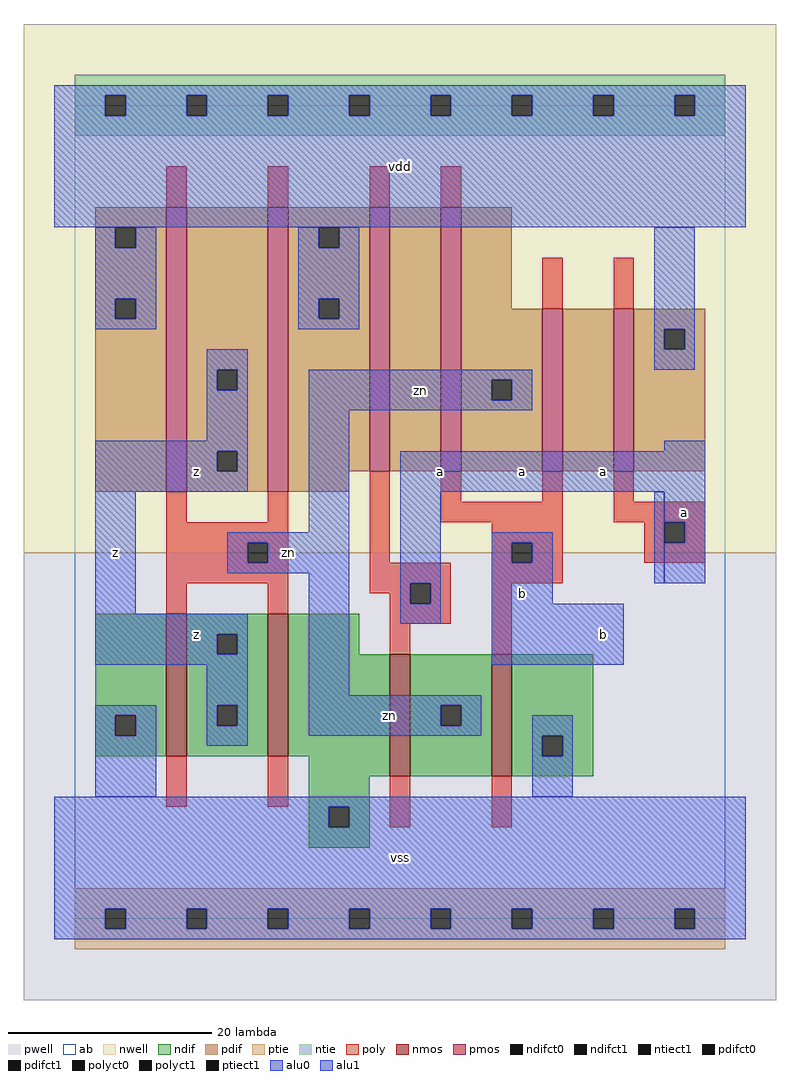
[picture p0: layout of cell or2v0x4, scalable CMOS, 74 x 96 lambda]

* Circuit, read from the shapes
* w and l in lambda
.subckt or2v0x4 a b vdd vss z zn
M1 z zn vss vss nfet w=14 l=2 m=2
M2 zn a vss vss nfet w=12 l=2
M3 vss b zn vss nfet w=12 l=2
M4 z zn vdd vdd pfet w=28 l=2 m=2
M5 n1 a vdd vdd pfet w=26 l=2
M6 zn b n1 vdd pfet w=26 l=2
M7 n2 b zn vdd pfet w=16 l=2
M8 vdd a n2 vdd pfet w=16 l=2
.ends

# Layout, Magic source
magic
tech scmos
<< ab >>
rect 0 0 64 80
<< nwell >>
rect -5 36 69 88
<< pwell >>
rect -5 -8 69 36
<< poly >>
rect 9 70 11 74
rect 19 70 21 74
rect 29 70 31 74
rect 36 70 38 74
rect 46 60 48 65
rect 53 60 55 65
rect 9 39 11 42
rect 19 39 21 42
rect 9 37 21 39
rect 9 35 17 37
rect 19 35 21 37
rect 9 33 21 35
rect 9 30 11 33
rect 19 30 21 33
rect 29 35 31 44
rect 36 41 38 44
rect 46 41 48 44
rect 36 39 48 41
rect 53 41 55 44
rect 53 39 62 41
rect 41 37 48 39
rect 41 35 43 37
rect 45 35 48 37
rect 56 37 58 39
rect 60 37 62 39
rect 56 35 62 37
rect 29 33 37 35
rect 29 32 33 33
rect 31 31 33 32
rect 35 31 37 33
rect 31 29 37 31
rect 41 33 48 35
rect 31 26 33 29
rect 41 26 43 33
rect 9 11 11 16
rect 19 11 21 16
rect 31 9 33 14
rect 41 9 43 14
<< ndif >>
rect 2 20 9 30
rect 2 18 4 20
rect 6 18 9 20
rect 2 16 9 18
rect 11 28 19 30
rect 11 26 14 28
rect 16 26 19 28
rect 11 21 19 26
rect 11 19 14 21
rect 16 19 19 21
rect 11 16 19 19
rect 21 26 28 30
rect 21 16 31 26
rect 23 14 31 16
rect 33 21 41 26
rect 33 19 36 21
rect 38 19 41 21
rect 33 14 41 19
rect 43 18 51 26
rect 43 16 46 18
rect 48 16 51 18
rect 43 14 51 16
rect 23 11 29 14
rect 23 9 25 11
rect 27 9 29 11
rect 23 7 29 9
<< pdif >>
rect 2 68 9 70
rect 2 66 4 68
rect 6 66 9 68
rect 2 61 9 66
rect 2 59 4 61
rect 6 59 9 61
rect 2 42 9 59
rect 11 54 19 70
rect 11 52 14 54
rect 16 52 19 54
rect 11 46 19 52
rect 11 44 14 46
rect 16 44 19 46
rect 11 42 19 44
rect 21 68 29 70
rect 21 66 24 68
rect 26 66 29 68
rect 21 61 29 66
rect 21 59 24 61
rect 26 59 29 61
rect 21 44 29 59
rect 31 44 36 70
rect 38 60 43 70
rect 38 53 46 60
rect 38 51 41 53
rect 43 51 46 53
rect 38 44 46 51
rect 48 44 53 60
rect 55 58 62 60
rect 55 56 58 58
rect 60 56 62 58
rect 55 44 62 56
rect 21 42 27 44
<< alu1 >>
rect -2 81 66 82
rect -2 79 3 81
rect 5 79 11 81
rect 13 79 19 81
rect 21 79 27 81
rect 29 79 35 81
rect 37 79 43 81
rect 45 79 51 81
rect 53 79 59 81
rect 61 79 66 81
rect -2 68 66 79
rect 13 54 17 56
rect 13 52 14 54
rect 16 52 17 54
rect 13 47 17 52
rect 2 46 17 47
rect 2 44 14 46
rect 16 44 17 46
rect 2 42 17 44
rect 2 30 6 42
rect 58 46 62 47
rect 2 28 17 30
rect 2 26 14 28
rect 16 26 17 28
rect 2 25 17 26
rect 13 21 17 25
rect 13 19 14 21
rect 16 19 17 21
rect 13 17 17 19
rect 32 42 62 46
rect 32 33 36 42
rect 32 31 33 33
rect 35 31 36 33
rect 32 29 36 31
rect 41 37 47 38
rect 41 35 43 37
rect 45 35 47 37
rect 41 31 47 35
rect 58 39 62 42
rect 60 37 62 39
rect 58 33 62 37
rect 41 25 54 31
rect -2 11 66 12
rect -2 9 25 11
rect 27 9 66 11
rect -2 1 66 9
rect -2 -1 3 1
rect 5 -1 11 1
rect 13 -1 19 1
rect 21 -1 27 1
rect 29 -1 35 1
rect 37 -1 43 1
rect 45 -1 51 1
rect 53 -1 59 1
rect 61 -1 66 1
rect -2 -2 66 -1
<< ptie >>
rect 0 1 64 3
rect 0 -1 3 1
rect 5 -1 11 1
rect 13 -1 19 1
rect 21 -1 27 1
rect 29 -1 35 1
rect 37 -1 43 1
rect 45 -1 51 1
rect 53 -1 59 1
rect 61 -1 64 1
rect 0 -3 64 -1
<< ntie >>
rect 0 81 64 83
rect 0 79 3 81
rect 5 79 11 81
rect 13 79 19 81
rect 21 79 27 81
rect 29 79 35 81
rect 37 79 43 81
rect 45 79 51 81
rect 53 79 59 81
rect 61 79 64 81
rect 0 77 64 79
<< nmos >>
rect 9 16 11 30
rect 19 16 21 30
rect 31 14 33 26
rect 41 14 43 26
<< pmos >>
rect 9 42 11 70
rect 19 42 21 70
rect 29 44 31 70
rect 36 44 38 70
rect 46 44 48 60
rect 53 44 55 60
<< polyct0 >>
rect 17 35 19 37
<< polyct1 >>
rect 43 35 45 37
rect 58 37 60 39
rect 33 31 35 33
<< ndifct0 >>
rect 4 18 6 20
rect 36 19 38 21
rect 46 16 48 18
<< ndifct1 >>
rect 14 26 16 28
rect 14 19 16 21
rect 25 9 27 11
<< ntiect1 >>
rect 3 79 5 81
rect 11 79 13 81
rect 19 79 21 81
rect 27 79 29 81
rect 35 79 37 81
rect 43 79 45 81
rect 51 79 53 81
rect 59 79 61 81
<< ptiect1 >>
rect 3 -1 5 1
rect 11 -1 13 1
rect 19 -1 21 1
rect 27 -1 29 1
rect 35 -1 37 1
rect 43 -1 45 1
rect 51 -1 53 1
rect 59 -1 61 1
<< pdifct0 >>
rect 4 66 6 68
rect 4 59 6 61
rect 24 66 26 68
rect 24 59 26 61
rect 41 51 43 53
rect 58 56 60 58
<< pdifct1 >>
rect 14 52 16 54
rect 14 44 16 46
<< alu0 >>
rect 2 66 4 68
rect 6 66 8 68
rect 2 61 8 66
rect 2 59 4 61
rect 6 59 8 61
rect 2 58 8 59
rect 22 66 24 68
rect 26 66 28 68
rect 22 61 28 66
rect 22 59 24 61
rect 26 59 28 61
rect 22 58 28 59
rect 57 58 61 68
rect 57 56 58 58
rect 60 56 61 58
rect 57 54 61 56
rect 23 53 45 54
rect 23 51 41 53
rect 43 51 45 53
rect 23 50 45 51
rect 23 38 27 50
rect 15 37 27 38
rect 15 35 17 37
rect 19 35 27 37
rect 15 34 27 35
rect 2 20 8 21
rect 2 18 4 20
rect 6 18 8 20
rect 2 12 8 18
rect 23 22 27 34
rect 57 33 58 42
rect 23 21 40 22
rect 23 19 36 21
rect 38 19 40 21
rect 23 18 40 19
rect 45 18 49 20
rect 45 16 46 18
rect 48 16 49 18
rect 45 12 49 16
<< labels >>
rlabel alu0 21 36 21 36 6 zn
rlabel alu0 31 20 31 20 6 zn
rlabel alu0 34 52 34 52 6 zn
rlabel alu1 4 36 4 36 6 z
rlabel alu1 12 28 12 28 6 z
rlabel alu1 12 44 12 44 6 z
rlabel alu1 32 6 32 6 6 vss
rlabel alu1 44 32 44 32 6 b
rlabel alu1 44 44 44 44 6 a
rlabel alu1 36 44 36 44 6 a
rlabel alu1 32 74 32 74 6 vdd
rlabel alu1 52 28 52 28 6 b
rlabel alu1 60 40 60 40 6 a
rlabel alu1 52 44 52 44 6 a
<< end >>
